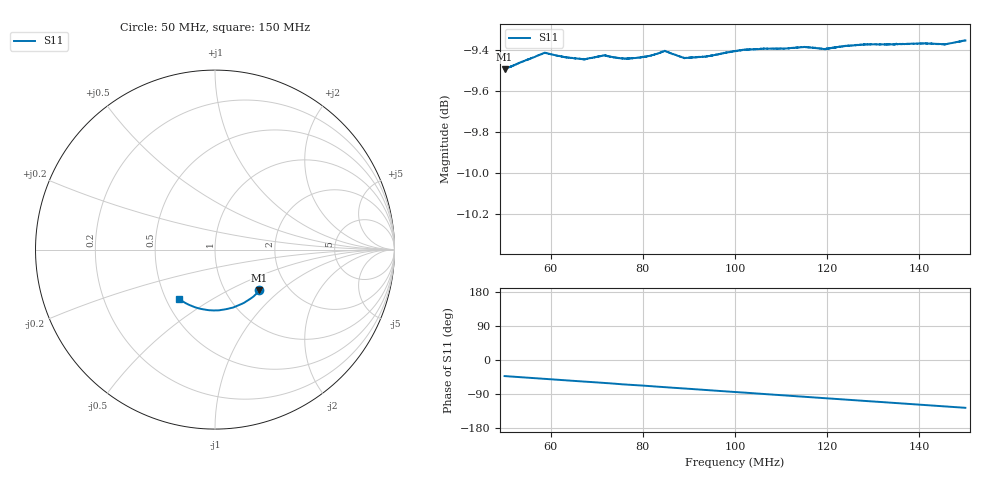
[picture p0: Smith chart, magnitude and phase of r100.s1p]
! COPPER MOUNTAIN TECHNOLOGIES, PLANAR TR1300/1, 00090118, 19.1.1/1.0
! Date: 11/26/2019 3:47:39 PM
! Data: Format [Calibration Info]
! Freq  S11: Re/Im F1
# HZ S RI R 50
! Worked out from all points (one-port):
!   2001 points, 50 MHz to 150 MHz, reference 50 ohm
!   lowest |S11| = -9.5 dB at 50 MHz (marker M1), VSWR 2.01, Z = 71.9 - j36.6 ohm
!   |S11| at or under -10 dB: nowhere
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5e7  0.2473 -0.2262
5.42e7  0.2342 -0.242
5.84e7  0.2194 -0.2574
6.25e7  0.2035 -0.2694
6.73e7  0.1836 -0.2827
7.155e7  0.1672 -0.2934
7.5e7  0.1499 -0.3021
7.64e7  0.1432 -0.3053
8.045e7  0.127 -0.3127
8.45e7  0.1072 -0.3211
8.75e7  0.0933 -0.3246
8.935e7  0.0848 -0.3265
9.565e7  0.0539 -0.3335
9.79e7  0.0425 -0.3356
1e8  0.0327 -0.337
1.023e8  0.0219 -0.3382
1.0605e8  0.00288 -0.339
1.125e8  -0.0292 -0.3379
1.169e8  -0.0506 -0.3354
1.196e8  -0.0638 -0.3329
1.25e8  -0.0896 -0.3276
1.2825e8  -0.1055 -0.3231
1.319e8  -0.1219 -0.3172
1.375e8  -0.1481 -0.3061
1.4245e8  -0.1695 -0.2948
1.456e8  -0.1825 -0.2868
1.495e8  -0.199 -0.2763
1.5e8  -0.2011 -0.2749
